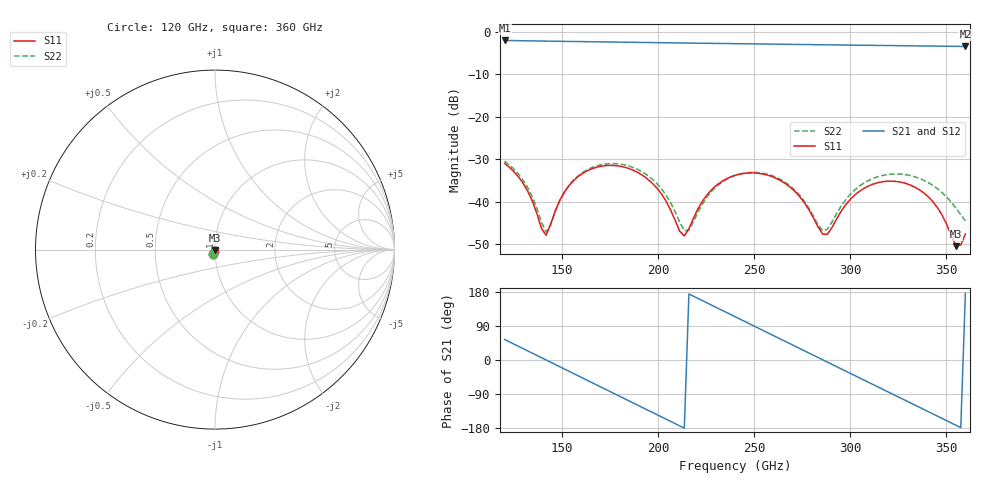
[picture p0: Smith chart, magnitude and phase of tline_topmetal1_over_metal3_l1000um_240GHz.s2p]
#  GHZ S DB R 50
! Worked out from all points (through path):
!   101 points, 120 GHz to 360 GHz, reference 50 ohm
!   highest |S21| = -2.08 dB at 120 GHz (marker M1); lowest = -3.5 dB at 360 GHz (marker M2)
!   group delay of S21, straight-line fit = 6.93 ps
!   lowest |S11| = -50.5 dB at 355.2 GHz (marker M3), VSWR 1.01, Z = 49.9 - j0.257 ohm
!   |S11| at or under -10 dB: start of sweep to end of sweep
!   |S22| runs from -47.2 to -30.5 dB; largest |S21 - S12| = 8.7e-14
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120  -31.03 -115.2  -2.08 54.2  -2.08 54.2  -30.51 -115.4
132  -37.53 -135.1  -2.17 24.1  -2.17 24.1  -36.69 -135.6
141.6  -47.94 -78.4  -2.23 0.1  -2.23 0.1  -47.17 -89.9
151.2  -37.71 -37.0  -2.29 -23.9  -2.29 -23.9  -37.75 -39.3
160.8  -33.33 -52.9  -2.35 -47.9  -2.35 -47.9  -33.12 -54.0
180  -31.68 -95.0  -2.47 -95.9  -2.47 -95.9  -31.17 -95.7
192  -33.87 -120.7  -2.55 -125.9  -2.55 -125.9  -33.10 -121.3
201.6  -38.16 -136.4  -2.61 -149.9  -2.61 -149.9  -36.95 -137.6
213.6  -48.09 -89.2  -2.68 -179.8  -2.68 -179.8  -46.85 -108.9
216  -46.42 -64.9  -2.69 174.2  -2.69 174.2  -46.74 -83.0
225.6  -38.33 -51.5  -2.75 150.3  -2.75 150.3  -38.83 -55.5
240  -33.84 -77.5  -2.83 114.4  -2.83 114.4  -33.86 -78.8
259.2  -34.12 -118.6  -2.94 66.5  -2.94 66.5  -33.89 -118.9
271.2  -37.63 -140.7  -3.01 36.6  -3.01 36.6  -37.31 -140.2
280.8  -43.80 -142.8  -3.06 12.7  -3.06 12.7  -43.42 -140.2
288  -47.75 -95.9  -3.10 -5.2  -3.10 -5.2  -46.59 -92.0
302.4  -38.46 -71.7  -3.18 -41.1  -3.18 -41.1  -37.26 -71.5
321.6  -35.20 -108.4  -3.28 -88.9  -3.28 -88.9  -33.54 -107.5
340.8  -38.95 -146.4  -3.39 -136.6  -3.39 -136.6  -35.57 -145.5
348  -43.32 -153.1  -3.43 -154.5  -3.43 -154.5  -37.96 -155.9
355.2  -50.51 -120.0  -3.47 -172.4  -3.47 -172.4  -41.63 -158.2
360  -47.66 -70.4  -3.49 175.6  -3.49 175.6  -44.55 -147.3
